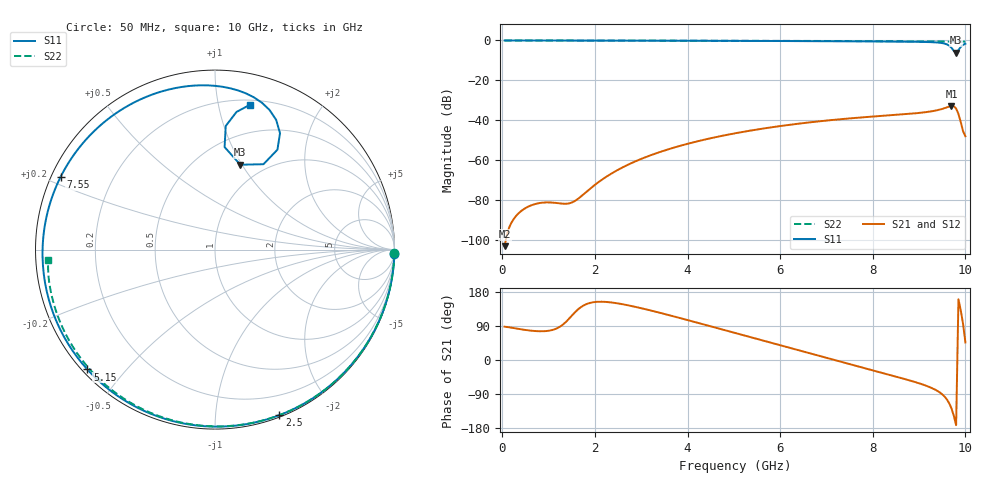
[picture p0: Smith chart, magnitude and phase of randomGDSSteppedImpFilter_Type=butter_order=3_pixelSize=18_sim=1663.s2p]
! freq	dB(S11)	phase(S11)	dB(S12)	phase(S12)
!  dB(S21)	phase(S21)	dB(S22)	phase(S22)
!S-par simulation data
#  GHz  S  DB  R 50
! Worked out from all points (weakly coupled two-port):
!   200 points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, 50 MHz to 10 GHz, reference 50 ohm
!   highest |S21| = -32.77 dB at 9.7 GHz (marker M1); lowest = -102.9 dB at 50 MHz (marker M2)
!   lowest |S11| = -6.1 dB at 9.8 GHz (marker M3), VSWR 2.95, Z = 39.3 + j49.2 ohm
!   |S11| at or under -10 dB: nowhere
!   |S22| runs from -0.6 to 0.0 dB; largest |S21 - S12| = 0
!   S11 on the Smith chart (normalised r, x): 50 MHz: 1, -80; 2.5 GHz: 0.02, -1.46; 5.15 GHz: 0.01, -0.40; 7.55 GHz: 0.03, +0.22; 10 GHz: 0.24, +1.24
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0.05  -0.00 -1.4  -102.91 87.9  -102.91 87.9  -0.00 -1.0
0.75  -0.02 -21.1  -81.60 76.1  -81.60 76.1  -0.02 -15.0
1.55  -0.05 -43.2  -80.53 123.4  -80.53 123.4  -0.04 -30.8
1.75  -0.06 -48.7  -77.07 143.5  -77.07 143.5  -0.04 -34.7
2.5  -0.09 -68.7  -64.69 149.3  -64.69 149.3  -0.06 -49.0
3.4  -0.12 -92.1  -55.84 124.7  -55.84 124.7  -0.09 -65.6
4.2  -0.16 -112.5  -50.53 98.8  -50.53 98.8  -0.11 -79.8
5.05  -0.21 -134.2  -46.35 70.5  -46.35 70.5  -0.14 -94.4
5.15  -0.21 -136.8  -45.93 67.2  -45.93 67.2  -0.15 -96.0
5.95  -0.28 -157.9  -42.99 40.4  -42.99 40.4  -0.19 -109.3
6.7  -0.34 -178.9  -40.82 15.4  -40.82 15.4  -0.24 -121.4
7.55  -0.44 154.8  -38.89 -12.7  -38.89 -12.7  -0.30 -135.1
8.35  -0.55 126.4  -37.48 -38.9  -37.48 -38.9  -0.38 -148.0
8.85  -0.65 106.1  -36.60 -55.9  -36.60 -55.9  -0.43 -156.2
9.25  -0.84 87.3  -35.52 -72.6  -35.52 -72.6  -0.48 -163.0
9.5  -1.32 72.3  -34.25 -90.6  -34.25 -90.6  -0.51 -167.4
9.7  -3.66 58.0  -32.77 -128.0  -32.77 -128.0  -0.54 -171.0
9.8  -6.13 73.4  -34.06 -172.0  -34.06 -172.0  -0.57 -172.8
9.85  -4.83 84.6  -36.75 160.1  -36.75 160.1  -0.58 -173.7
9.9  -3.21 85.0  -40.82 130.9  -40.82 130.9  -0.59 -174.7
9.95  -2.20 81.1  -45.44 94.7  -45.44 94.7  -0.60 -175.6
10  -1.63 76.6  -47.91 46.3  -47.91 46.3  -0.61 -176.5
